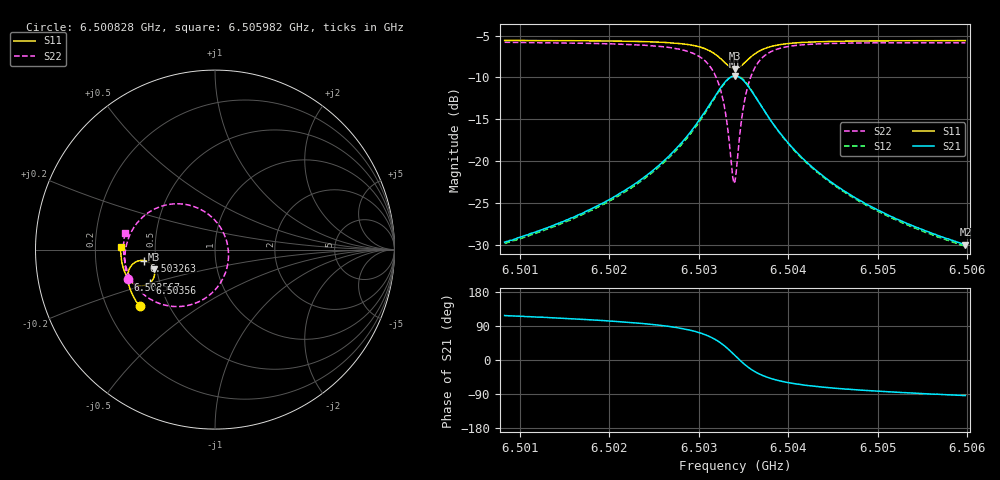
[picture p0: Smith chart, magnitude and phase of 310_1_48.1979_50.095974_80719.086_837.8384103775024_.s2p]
#  HZ  S  RI  R  50.00
! Rohde & Schwarz Vector Network Analyzer
! Rohde-Schwarz,ZNB20-2Port,1311601062101988,3.16
! Created: UTC 3/20/2024, 11:49:56 AM
! freq[Hz]  re:S11  im:S11  re:S21  im:S21  re:S12  im:S12  re:S22  im:S22
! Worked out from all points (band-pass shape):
!   401 points, 6.500828 GHz to 6.505982 GHz, reference 50 ohm
!   highest |S21| = -9.81 dB at 6.503405 GHz (marker M1); lowest = -30.0 dB at 6.505982 GHz (marker M2)
!   |S21| within 3 dB of the highest: 6.503147 GHz to 6.503662 GHz (515.1 kHz wide, 0.00792 % of centre)
!   lowest |S11| = -9.0 dB at 6.503405 GHz (marker M3), VSWR 2.11, Z = 24.2 - j6.08 ohm
!   |S11| at or under -10 dB: nowhere
!   |S22| runs from -22.7 to -5.8 dB; largest |S21 - S12| = 0.011
!   S11 on the Smith chart (normalised r, x): 6.500828 GHz: 0.34, -0.30; 6.502567 GHz: 0.33, -0.15; 6.503263 GHz: 0.43, -0.06; 6.50356 GHz: 0.44, -0.20; 6.505982 GHz: 0.31, +0.01
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6.5008282e9  -0.4206 -0.3167  -0.0151 0.029  -0.0134 0.0293  -0.4864 -0.1649
6.5016914e9  -0.4586 -0.254  -0.0144 0.0464  -0.0122 0.0461  -0.5013 -0.0751
6.502181e9  -0.4762 -0.2111  -0.0116 0.0662  -0.00865 0.0652  -0.4992 -0.00698
6.5025546e9  -0.4855 -0.1705  -0.00291 0.0943  0.00053 0.0921  -0.4813 0.0659
6.5025675e9  -0.4857 -0.1688  -0.00253 0.0957  0.00112 0.0934  -0.48 0.0689
6.5028123e9  -0.485 -0.1337  0.0157 0.1286  0.0195 0.1249  -0.4419 0.1384
6.5029927e9  -0.4737 -0.1006  0.05 0.1645  0.0533 0.1592  -0.374 0.2042
6.5031601e9  -0.4393 -0.0677  0.1271 0.1976  0.1283 0.1912  -0.2327 0.2545
6.5032632e9  -0.3969 -0.0608  0.2116 0.1885  0.212 0.1833  -0.0855 0.2266
6.5033147e9  -0.3718 -0.0695  0.2592 0.1608  0.2602 0.1561  -0.00622 0.1695
6.5033792e9  -0.3455 -0.0955  0.3063 0.0978  0.3088 0.0928  0.0644 0.0487
6.5034049e9  -0.3394 -0.1098  0.3164 0.0663  0.3193 0.0603  0.0749 -0.0104
6.5034178e9  -0.3375 -0.1174  0.3189 0.0497  0.3221 0.0433  0.0753 -0.0407
6.5034951e9  -0.3435 -0.1615  0.302 -0.0434  0.3038 -0.0531  0.018 -0.203
6.5035595e9  -0.3643 -0.1869  0.2598 -0.0966  0.2587 -0.1075  -0.0768 -0.284
6.5036626e9  -0.4032 -0.2016  0.1866 -0.1321  0.1813 -0.1412  -0.2239 -0.3172
6.5038301e9  -0.4485 -0.1918  0.1066 -0.1291  0.0997 -0.1339  -0.3683 -0.2713
6.5040105e9  -0.4757 -0.1705  0.0629 -0.1095  0.0568 -0.1117  -0.4389 -0.2075
6.5042681e9  -0.4962 -0.1404  0.0334 -0.0858  0.0288 -0.0862  -0.4816 -0.1363
6.5046675e9  -0.5121 -0.0994  0.0144 -0.0626  0.0111 -0.0622  -0.5042 -0.0598
6.5051313e9  -0.5211 -0.057  0.00489 -0.047  0.0027 -0.0463  -0.5097 0.0038
6.5059817e9  -0.5257 0.0146  -0.00209 -0.0316  -0.00344 -0.0308  -0.5015 0.0922
